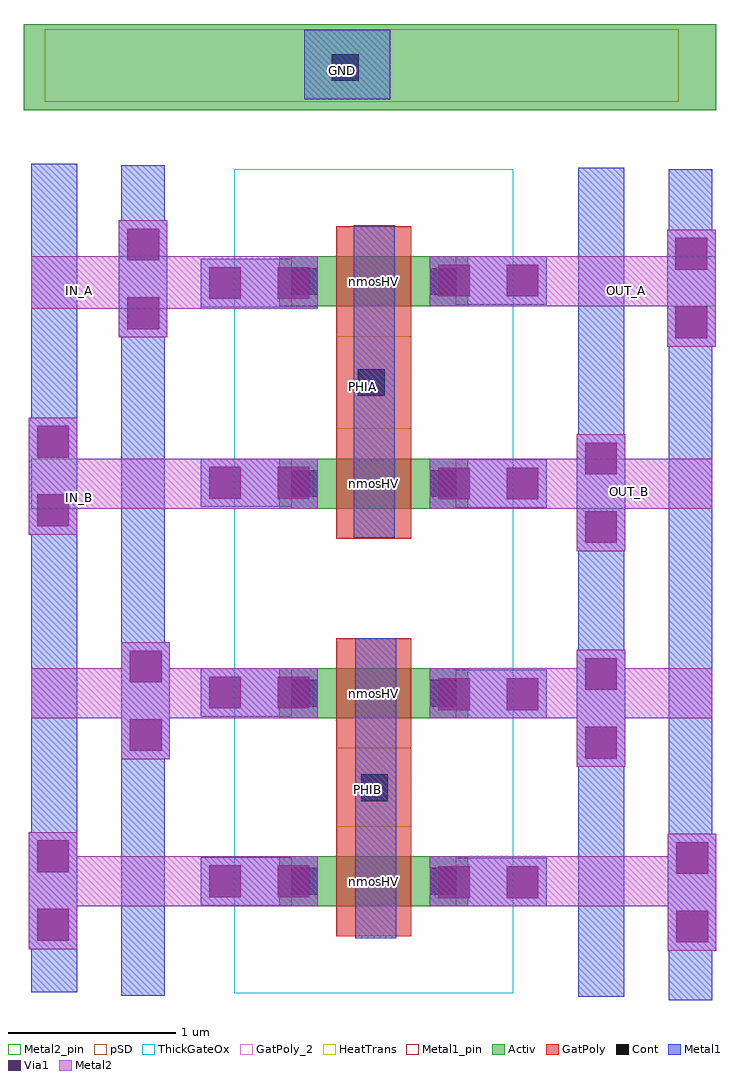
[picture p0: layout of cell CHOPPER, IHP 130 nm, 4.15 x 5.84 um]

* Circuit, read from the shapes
.subckt CHOPPER GND IN_A IN_B OUT_A OUT_B PHIA PHIB
XM1 OUT_A PHIB IN_B GND sg13_hv_nmos w=0.3u l=0.45u
XM2 OUT_B PHIB IN_A GND sg13_hv_nmos w=0.3u l=0.45u
XM3 OUT_B PHIA IN_B GND sg13_hv_nmos w=0.3u l=0.45u
XM4 OUT_A PHIA IN_A GND sg13_hv_nmos w=0.3u l=0.45u
.ends

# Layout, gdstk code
import gdstk
lib = gdstk.Library(unit=1e-6, precision=1e-09)
def R(c, l, rs):  # rectangles x0, y0, x1, y1
    for r in rs: c.add(gdstk.rectangle(r[:2], r[2:], *l))
Activ = (1, 0)
GatPoly = (5, 0)
GatPoly_2 = (5, 2)
Cont = (6, 0)
Metal1 = (8, 0)
Metal1_pin = (8, 2)
Metal2 = (10, 0)
Metal2_pin = (10, 2)
pSD = (14, 0)
Via1 = (19, 0)
ThickGateOx = (44, 0)
HeatTrans = (51, 0)

chopper = lib.new_cell('CHOPPER')
R(chopper, Activ, [(1277.155,1501.065,1277.455,1501.365), (1277.155,1501.065,1278.285,1501.365), (1277.985,1501.065,1278.285,1501.365), (1277.155,1502.19,1277.455,1502.49), (1277.155,1502.19,1278.285,1502.49), (1277.985,1502.19,1278.285,1502.49), (1277.155,1503.445,1277.455,1503.745), (1277.155,1503.445,1278.285,1503.745), (1277.985,1503.445,1278.285,1503.745), (1277.155,1504.655,1277.455,1504.955), (1277.155,1504.655,1278.285,1504.955), (1277.985,1504.655,1278.285,1504.955), (1275.625,1505.83,1279.77,1506.345)])
R(chopper, GatPoly, [(1277.495,1500.885,1277.945,1501.545), (1277.495,1501.545,1277.945,1502.01), (1277.495,1502.01,1277.945,1502.67), (1277.495,1503.265,1277.945,1503.925), (1277.495,1503.925,1277.945,1504.475), (1277.495,1504.475,1277.945,1505.135)])
R(chopper, GatPoly_2, [(1277.495,1500.885,1277.945,1501.545), (1277.495,1502.01,1277.945,1502.67), (1277.495,1503.265,1277.945,1503.925), (1277.495,1504.475,1277.945,1505.135)])
R(chopper, Cont, [(1277.225,1501.135,1277.385,1501.295), (1278.055,1501.135,1278.215,1501.295), (1277.645,1501.695,1277.805,1501.855), (1277.225,1502.26,1277.385,1502.42), (1278.055,1502.26,1278.215,1502.42), (1277.225,1503.515,1277.385,1503.675), (1278.055,1503.515,1278.215,1503.675), (1277.625,1504.12,1277.785,1504.28), (1277.225,1504.725,1277.385,1504.885), (1278.055,1504.725,1278.215,1504.885), (1277.47,1506.005,1277.63,1506.165)])
R(chopper, Metal1, [(1279.485,1500.505,1279.745,1505.475), (1278.945,1500.525,1279.22,1505.485), (1276.21,1500.53,1276.47,1505.5), (1275.67,1500.55,1275.945,1505.51), (1279.48,1500.8,1279.77,1501.5), (1275.655,1500.81,1275.945,1501.51), (1277.61,1500.875,1277.855,1502.67), (1277.225,1501.065,1277.385,1501.365), (1278.055,1501.065,1278.215,1501.365), (1278.055,1501.065,1278.755,1501.355), (1276.685,1501.07,1277.385,1501.36), (1277.645,1501.695,1277.805,1501.855), (1278.935,1501.9,1279.225,1502.6), (1276.21,1501.945,1276.5,1502.645), (1277.225,1502.19,1277.385,1502.49), (1278.055,1502.19,1278.215,1502.49), (1278.055,1502.19,1278.755,1502.48), (1276.685,1502.2,1277.385,1502.49), (1278.935,1503.19,1279.225,1503.89), (1277.6,1503.27,1277.845,1505.14), (1275.655,1503.29,1275.945,1503.99), (1277.225,1503.445,1277.385,1503.745), (1278.055,1503.445,1278.215,1503.745), (1278.055,1503.45,1278.755,1503.74), (1276.685,1503.455,1277.385,1503.745), (1277.625,1504.12,1277.785,1504.28), (1279.475,1504.415,1279.765,1505.115), (1276.195,1504.47,1276.485,1505.17), (1276.685,1504.65,1277.385,1504.94), (1277.225,1504.655,1277.385,1504.955), (1278.055,1504.655,1278.215,1504.955), (1278.055,1504.665,1278.755,1504.955), (1277.305,1505.895,1277.82,1506.31)])
R(chopper, Metal1_pin, [(1277.225,1501.065,1277.385,1501.365), (1278.055,1501.065,1278.215,1501.365), (1277.645,1501.695,1277.805,1501.855), (1277.225,1502.19,1277.385,1502.49), (1278.055,1502.19,1278.215,1502.49), (1277.225,1503.445,1277.385,1503.745), (1278.055,1503.445,1278.215,1503.745), (1277.625,1504.12,1277.785,1504.28), (1277.225,1504.655,1277.385,1504.955), (1278.055,1504.655,1278.215,1504.955), (1277.305,1505.895,1277.82,1506.31)])
R(chopper, Metal2, [(1279.48,1500.8,1279.77,1501.5), (1275.655,1500.81,1275.945,1501.51), (1275.67,1501.065,1277.385,1501.365), (1278.055,1501.065,1279.745,1501.365), (1278.055,1501.065,1278.755,1501.355), (1276.685,1501.07,1277.385,1501.36), (1278.935,1501.9,1279.225,1502.6), (1276.21,1501.945,1276.5,1502.645), (1275.67,1502.19,1277.385,1502.49), (1278.055,1502.19,1279.745,1502.49), (1278.055,1502.19,1278.755,1502.48), (1276.685,1502.2,1277.385,1502.49), (1278.935,1503.19,1279.225,1503.89), (1275.655,1503.29,1275.945,1503.99), (1275.67,1503.445,1277.385,1503.745), (1278.055,1503.445,1279.745,1503.745), (1278.055,1503.45,1278.755,1503.74), (1276.685,1503.455,1277.385,1503.745), (1279.475,1504.415,1279.765,1505.115), (1276.195,1504.47,1276.485,1505.17), (1275.67,1504.64,1277.385,1504.955), (1276.685,1504.65,1277.385,1504.94), (1278.055,1504.655,1279.765,1504.955), (1278.055,1504.665,1278.755,1504.955)])
R(chopper, Metal2_pin, [(1275.67,1503.445,1277.385,1503.745), (1278.055,1503.445,1279.745,1503.745), (1275.67,1504.64,1277.385,1504.955), (1278.055,1504.655,1279.765,1504.955)])
R(chopper, pSD, [(1275.75,1505.88,1279.545,1506.315)])
R(chopper, Via1, [(1279.53,1500.85,1279.72,1501.04), (1275.705,1500.86,1275.895,1501.05), (1278.105,1501.115,1278.295,1501.305), (1278.515,1501.115,1278.705,1501.305), (1276.735,1501.12,1276.925,1501.31), (1277.145,1501.12,1277.335,1501.31), (1279.53,1501.26,1279.72,1501.45), (1275.705,1501.27,1275.895,1501.46), (1278.985,1501.95,1279.175,1502.14), (1276.26,1501.995,1276.45,1502.185), (1278.105,1502.24,1278.295,1502.43), (1278.515,1502.24,1278.705,1502.43), (1276.735,1502.25,1276.925,1502.44), (1277.145,1502.25,1277.335,1502.44), (1278.985,1502.36,1279.175,1502.55), (1276.26,1502.405,1276.45,1502.595), (1278.985,1503.24,1279.175,1503.43), (1275.705,1503.34,1275.895,1503.53), (1278.105,1503.5,1278.295,1503.69), (1278.515,1503.5,1278.705,1503.69), (1276.735,1503.505,1276.925,1503.695), (1277.145,1503.505,1277.335,1503.695), (1278.985,1503.65,1279.175,1503.84), (1275.705,1503.75,1275.895,1503.94), (1279.525,1504.465,1279.715,1504.655), (1276.245,1504.52,1276.435,1504.71), (1276.735,1504.7,1276.925,1504.89), (1277.145,1504.7,1277.335,1504.89), (1278.105,1504.715,1278.295,1504.905), (1278.515,1504.715,1278.705,1504.905), (1279.525,1504.875,1279.715,1505.065), (1276.245,1504.93,1276.435,1505.12)])
R(chopper, ThickGateOx, [(1276.885,1500.545,1278.555,1501.885), (1276.885,1501.67,1278.555,1503.01), (1276.885,1502.925,1278.555,1504.265), (1276.885,1504.135,1278.555,1505.475)])
R(chopper, HeatTrans, [(1277.495,1500.885,1277.945,1501.545), (1277.495,1502.01,1277.945,1502.67), (1277.495,1503.265,1277.945,1503.925), (1277.495,1504.475,1277.945,1505.135)])
chopper.add(gdstk.Label('nmosHV', (1277.72,1501.215), layer=63, texttype=0))
chopper.add(gdstk.Label('nmosHV', (1277.72,1502.34), layer=63, texttype=0))
chopper.add(gdstk.Label('nmosHV', (1277.72,1503.595), layer=63, texttype=0))
chopper.add(gdstk.Label('nmosHV', (1277.72,1504.805), layer=63, texttype=0))
chopper.add(gdstk.Label('nmosHV', (1277.72,1501.215), layer=51, texttype=0))
chopper.add(gdstk.Label('nmosHV', (1277.72,1502.34), layer=51, texttype=0))
chopper.add(gdstk.Label('nmosHV', (1277.72,1503.595), layer=51, texttype=0))
chopper.add(gdstk.Label('nmosHV', (1277.72,1504.805), layer=51, texttype=0))
chopper.add(gdstk.Label('OUT_B', (1279.25,1503.545), layer=10, texttype=25))
chopper.add(gdstk.Label('OUT_A', (1279.23,1504.75), layer=10, texttype=25))
chopper.add(gdstk.Label('IN_B', (1275.96,1503.51), layer=10, texttype=25))
chopper.add(gdstk.Label('IN_A', (1275.96,1504.75), layer=10, texttype=25))
chopper.add(gdstk.Label('GND', (1277.53,1506.065), layer=8, texttype=25))
chopper.add(gdstk.Label('PHIA', (1277.655,1504.175), layer=8, texttype=25))
chopper.add(gdstk.Label('PHIB', (1277.685,1501.765), layer=8, texttype=25))

lib.write_gds('CHOPPER.gds')
